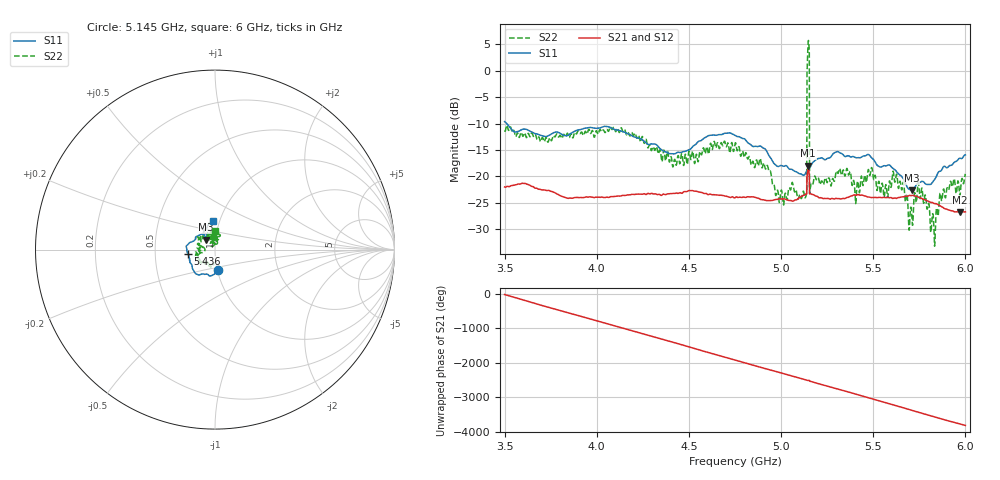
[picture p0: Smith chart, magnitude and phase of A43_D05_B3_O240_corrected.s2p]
! Created with skrf 1.9.0 (http://scikit-rf.org).
# Hz S RI R 50.0
!freq ReS11 ImS11 ReS21 ImS21 ReS12 ImS12 ReS22 ImS22
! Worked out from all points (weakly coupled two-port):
!   1601 points, 3.5 GHz to 6 GHz, reference 50 ohm
!   highest |S21| = -17.93 dB at 5.147 GHz (marker M1); lowest = -26.8 dB at 5.972 GHz (marker M2)
!   lowest |S11| = -22.6 dB at 5.709 GHz (marker M3), VSWR 1.16, Z = 45 + j5 ohm
!   |S11| at or under -10 dB: 3.512 GHz to end of sweep
!   |S22| runs from -33.2 to 5.7 dB; largest |S21 - S12| = 0.0013
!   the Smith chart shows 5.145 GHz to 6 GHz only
!   S11 on the Smith chart (normalised r, x): 5.145 GHz: 1.01, -0.24; 5.436 GHz: 0.74, -0.04; 6 GHz: 0.93, +0.30
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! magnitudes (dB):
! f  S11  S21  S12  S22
! 3.5 GHz  -9.6  -22.0  -21.9  -11.3
! 3.917 GHz  -11.1  -24.0  -23.9  -11.6
! 4.334 GHz  -14.4  -23.4  -23.3  -15.7
! 4.75 GHz  -12.2  -24.0  -23.9  -13.8
! 4.931 GHz  -15.9  -24.6  -24.5  -18.6
! 4.981 GHz  -18.1  -24.3  -24.3  -22.6
! 5.102 GHz  -19.5  -24.0  -23.9  -23.5
! 5.127 GHz  -19.7  -23.5  -23.5  -23.6
! 5.141 GHz  -18.8  -20.1  -20.0  -0.6
! 5.145 GHz  -18.7  -18.3  -18.2  4.3
! 5.147 GHz  -18.6  -17.9  -17.9  5.4
! 5.153 GHz  -18.4  -20.0  -19.9  3.4
! 5.167 GHz  -17.6  -23.4  -23.3  -21.5
! 5.436 GHz  -16.3  -23.5  -23.5  -19.9
! 5.584 GHz  -17.8  -24.0  -23.9  -21.7
! 5.617 GHz  -18.7  -24.1  -24.0  -21.1
! 5.709 GHz  -22.6  -23.6  -23.5  -27.5
! 5.753 GHz  -21.1  -24.0  -24.0  -23.9
! 5.823 GHz  -21.0  -25.0  -24.9  -27.0
! 5.872 GHz  -18.7  -25.7  -25.6  -24.6
! 5.972 GHz  -16.5  -26.8  -26.7  -23.3
! 6 GHz  -15.9  -26.7  -26.6  -19.5
